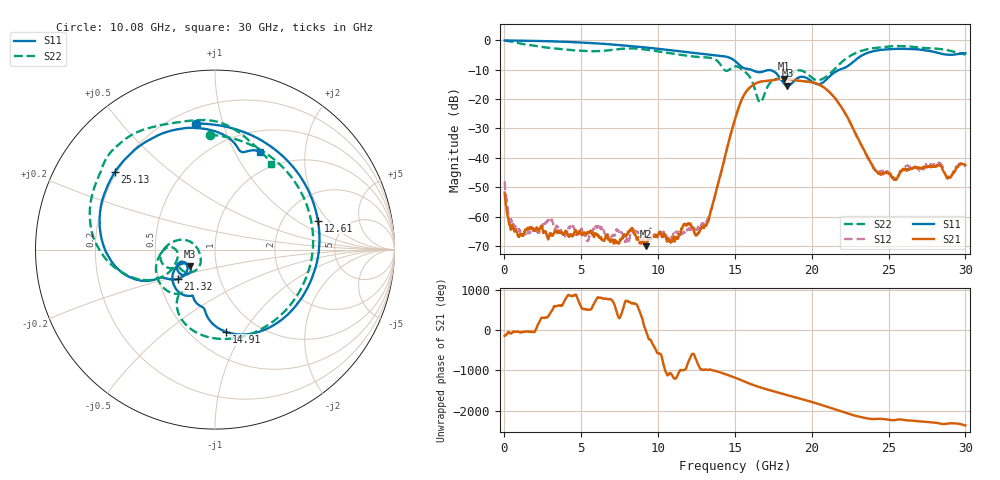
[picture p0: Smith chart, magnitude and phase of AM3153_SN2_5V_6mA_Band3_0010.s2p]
!Agilent Technologies,E8364B,MY43040894,A.07.50.67
!Agilent E8364B: A.07.50.67
!Date: Wednesday, May 13, 2020 06:20:43
!Correction: S11(Full 2 Port(1,2))
!S21(Full 2 Port(1,2))
!S12(Full 2 Port(1,2))
!S22(Full 2 Port(1,2))
!S2P File: Measurements: S11, S21, S12, S22:
# Hz S  dB  R 50
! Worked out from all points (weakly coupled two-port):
!   1601 points, 10 MHz to 30 GHz, reference 50 ohm
!   highest |S21| = -13.08 dB at 18.17 GHz (marker M1); lowest = -70.0 dB at 9.213 GHz (marker M2)
!   lowest |S11| = -15.5 dB at 18.42 GHz (marker M3), VSWR 1.40, Z = 37.1 - j7.07 ohm
!   |S11| at or under -10 dB: 16.04 GHz to 21.83 GHz (5.782 GHz wide, 30.5 % of centre)
!   |S22| runs from -21.1 to -0.1 dB; largest |S21 - S12| = 0.0038
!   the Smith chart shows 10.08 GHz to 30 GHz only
!   S11 on the Smith chart (normalised r, x): 10.08 GHz: 0.29, +0.82; 12.61 GHz: 3.10, +1.55; 14.91 GHz: 0.72, -0.84; 21.32 GHz: 0.63, -0.22; 25.13 GHz: 0.19, +0.33; 30 GHz: 0.75, +1.27
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1e7  -0.09 -1.8  -51.83 -142.3  -48.00 151.0  -0.10 -5.1
1.134625e9  -0.17 -32.8  -65.94 -54.6  -65.33 161.9  -1.24 -80.1
2.55915e9  -0.32 -72.4  -65.04 -52.1  -63.16 96.6  -2.39 -159.1
5.014581e9  -0.81 -135.2  -66.06 -164.3  -64.99 166.6  -3.58 83.9
6.401619e9  -1.22 -168.6  -67.86 60.8  -63.83 74.0  -3.64 -3.4
7.451269e9  -1.65 166.3  -69.03 -57.4  -65.10 28.0  -3.02 -90.1
8.313481e9  -2.03 145.2  -63.96 -62.1  -64.36 -103.5  -2.80 -160.2
9.213181e9  -2.49 122.1  -70.02 -25.7  -64.85 177.4  -3.21 140.5
1.001916e10  -2.94 100.1  -66.08 145.6  -65.82 -73.2  -3.82 95.6
1.007539e10  -2.97 98.5  -65.37 139.8  -65.46 -109.7  -3.87 92.7
1.26058e10  -4.50 15.7  -65.40 -138.0  -63.35 -108.8  -5.68 -38.9
1.341178e10  -4.97 -15.2  -58.30 99.5  -58.49 100.5  -6.02 -84.6
1.491128e10  -6.69 -82.2  -28.52 -84.7  -28.57 -84.0  -9.02 -140.8
1.5005e10  -7.05 -86.5  -26.86 -97.9  -26.89 -97.2  -8.90 -146.4
1.663571e10  -10.88 -116.1  -14.13 22.3  -14.18 22.2  -21.12 -165.4
1.817269e10  -14.65 -155.5  -13.08 -145.9  -13.13 -145.2  -12.72 -155.0
1.841636e10  -15.49 -146.6  -13.14 -172.3  -13.18 -171.6  -12.07 -155.7
2.000958e10  -14.07 -160.2  -14.28 19.7  -14.32 20.3  -12.73 177.8
2.132164e10  -11.55 -141.7  -18.54 -138.5  -18.59 -137.5  -10.69 -153.4
2.501416e10  -3.07 144.6  -45.28 -61.0  -45.18 -64.7  -2.15 143.2
2.512662e10  -3.02 142.0  -45.43 -66.6  -45.68 -69.8  -2.07 141.2
3e10  -4.44 65.3  -42.48 157.7  -43.07 167.7  -4.88 56.9
